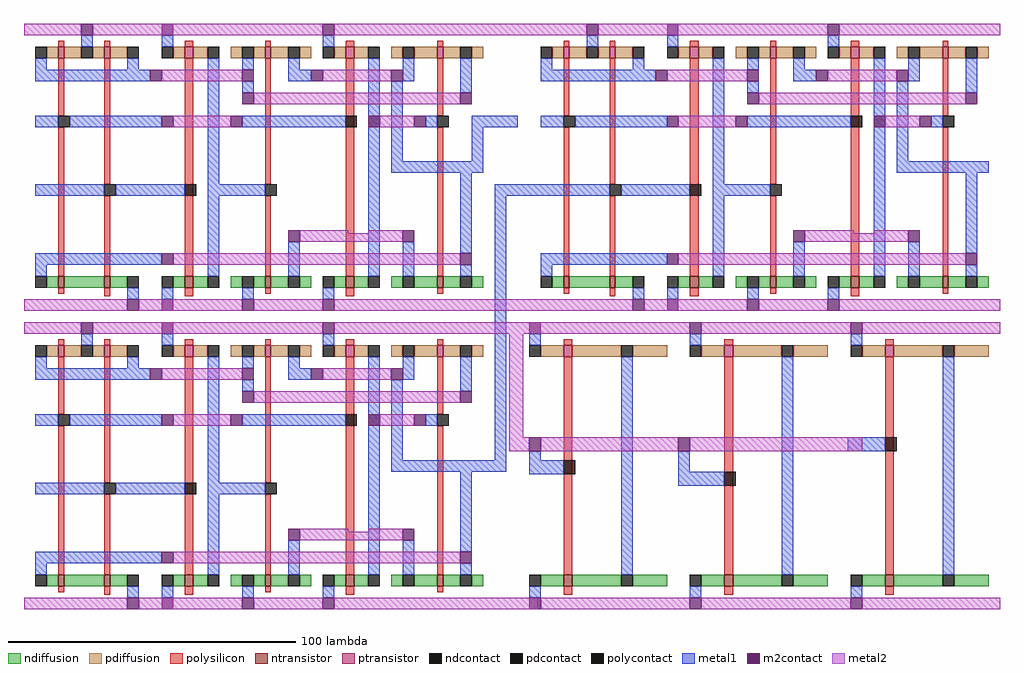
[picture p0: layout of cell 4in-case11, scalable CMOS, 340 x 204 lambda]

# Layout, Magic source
magic
tech scmos
<< metal1 >>
rect 156 64 172 68
rect 156 49 160 64
rect 164 40 185 44
rect 164 -52 168 40
rect 155 -56 168 -52
rect 176 -52 180 -49
rect 287 -49 300 -44
rect 176 -57 188 -52
rect 228 -56 232 -49
rect 228 -61 244 -56
<< metal2 >>
rect 161 96 181 100
rect 160 0 180 4
rect 160 -8 180 -4
rect 169 -44 174 -8
rect 169 -49 176 -44
rect 180 -49 228 -44
rect 232 -49 292 -44
rect 159 -104 179 -100
<< polycontact >>
rect 300 -49 304 -44
rect 188 -57 192 -52
rect 244 -61 248 -56
<< m2contact >>
rect 176 -49 180 -44
rect 228 -49 232 -44
use 2in-xor  2in-xor_0
transform 1 0 0 0 1 0
box 0 0 164 100
use 2in-xor  2in-xor_1
transform 1 0 0 0 1 -104
box 0 0 164 100
use 2in-xor  2in-xor_2
transform 1 0 176 0 1 0
box 0 0 164 100
use inverter  inverter_0
transform 1 0 172 0 1 -104
box 0 0 56 100
use inverter  inverter_1
transform 1 0 228 0 1 -104
box 0 0 56 100
use inverter  inverter_2
transform 1 0 284 0 1 -104
box 0 0 56 100
<< end >>

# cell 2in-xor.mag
magic
tech scmos
<< polysilicon >>
rect 12 92 14 94
rect 28 92 30 94
rect 84 92 86 94
rect 144 92 146 94
rect 12 68 14 88
rect 12 12 14 64
rect 28 44 30 88
rect 84 44 86 88
rect 144 68 146 88
rect 28 12 30 40
rect 84 12 86 40
rect 144 12 146 64
rect 12 6 14 8
rect 28 5 30 8
rect 84 6 86 8
rect 144 6 146 8
<< ndiffusion >>
rect 8 8 12 12
rect 14 8 28 12
rect 30 8 36 12
rect 72 8 76 12
rect 80 8 84 12
rect 86 8 92 12
rect 96 8 100 12
rect 128 8 132 12
rect 136 8 144 12
rect 146 8 152 12
rect 156 8 160 12
<< pdiffusion >>
rect 8 88 12 92
rect 14 88 20 92
rect 24 88 28 92
rect 30 88 36 92
rect 72 88 76 92
rect 80 88 84 92
rect 86 88 92 92
rect 96 88 100 92
rect 128 88 132 92
rect 136 88 144 92
rect 146 88 152 92
rect 156 88 160 92
<< metal1 >>
rect 20 92 24 96
rect 4 84 8 88
rect 36 84 40 88
rect 76 84 80 88
rect 4 80 44 84
rect 92 84 96 88
rect 92 80 100 84
rect 132 80 136 88
rect 76 76 80 80
rect 4 64 12 68
rect 16 64 48 68
rect 76 64 112 68
rect 128 52 132 80
rect 152 76 156 88
rect 140 64 144 68
rect 128 48 160 52
rect 4 40 28 44
rect 32 40 56 44
rect 64 40 84 44
rect 4 16 48 20
rect 4 12 8 16
rect 92 12 96 24
rect 36 4 40 8
rect 132 12 136 24
rect 152 20 156 48
rect 152 12 156 16
rect 76 4 80 8
<< metal2 >>
rect 0 96 20 100
rect 24 96 104 100
rect 108 96 164 100
rect 48 80 76 84
rect 104 80 128 84
rect 80 72 152 76
rect 52 64 72 68
rect 124 64 136 68
rect 96 27 113 28
rect 120 27 132 28
rect 96 24 132 27
rect 52 16 152 20
rect 0 0 36 4
rect 40 0 76 4
rect 80 0 104 4
rect 108 0 164 4
<< ntransistor >>
rect 12 8 14 12
rect 28 8 30 12
rect 84 8 86 12
rect 144 8 146 12
<< ptransistor >>
rect 12 88 14 92
rect 28 88 30 92
rect 84 88 86 92
rect 144 88 146 92
<< polycontact >>
rect 12 64 16 68
rect 112 64 116 68
rect 144 64 148 68
rect 28 40 32 44
rect 56 40 60 44
rect 84 40 88 44
<< ndcontact >>
rect 4 8 8 12
rect 36 8 40 12
rect 76 8 80 12
rect 92 8 96 12
rect 132 8 136 12
rect 152 8 156 12
<< pdcontact >>
rect 4 88 8 92
rect 20 88 24 92
rect 36 88 40 92
rect 76 88 80 92
rect 92 88 96 92
rect 132 88 136 92
rect 152 88 156 92
<< m2contact >>
rect 20 96 24 100
rect 44 80 48 84
rect 76 80 80 84
rect 100 80 104 84
rect 128 80 132 84
rect 76 72 80 76
rect 48 64 52 68
rect 72 64 76 68
rect 120 64 124 68
rect 152 72 156 76
rect 136 64 140 68
rect 92 24 96 28
rect 48 16 52 20
rect 36 0 40 4
rect 132 24 136 28
rect 152 16 156 20
rect 76 0 80 4
use inv  inv_0
transform 1 0 44 0 1 0
box 0 0 28 100
use inv  inv_1
transform 1 0 100 0 1 0
box 0 0 28 100
<< end >>

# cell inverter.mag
magic
tech scmos
<< polysilicon >>
rect 16 92 19 94
rect 16 12 19 88
rect 16 5 19 8
<< ndiffusion >>
rect 8 8 16 12
rect 19 8 36 12
rect 40 8 52 12
<< pdiffusion >>
rect 8 88 16 92
rect 19 88 36 92
rect 40 88 52 92
<< metal1 >>
rect 4 92 8 96
rect 36 12 40 88
rect 4 4 8 8
<< metal2 >>
rect 0 96 4 100
rect 8 96 56 100
rect 0 0 4 4
rect 8 0 56 4
<< ntransistor >>
rect 16 8 19 12
<< ptransistor >>
rect 16 88 19 92
<< ndcontact >>
rect 4 8 8 12
rect 36 8 40 12
<< pdcontact >>
rect 4 88 8 92
rect 36 88 40 92
<< m2contact >>
rect 4 96 8 100
rect 4 0 8 4
<< end >>

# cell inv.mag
magic
tech scmos
<< polysilicon >>
rect 12 92 15 94
rect 12 12 15 88
rect 12 5 15 8
<< ndiffusion >>
rect 8 8 12 12
rect 15 8 20 12
<< pdiffusion >>
rect 8 88 12 92
rect 15 88 20 92
<< metal1 >>
rect 4 92 8 96
rect 20 12 24 88
rect 4 4 8 8
<< metal2 >>
rect 0 96 4 100
rect 8 96 28 100
rect 0 0 4 4
rect 8 0 28 4
<< ntransistor >>
rect 12 8 15 12
<< ptransistor >>
rect 12 88 15 92
<< ndcontact >>
rect 4 8 8 12
rect 20 8 24 12
<< pdcontact >>
rect 4 88 8 92
rect 20 88 24 92
<< m2contact >>
rect 4 96 8 100
rect 4 0 8 4
<< end >>
